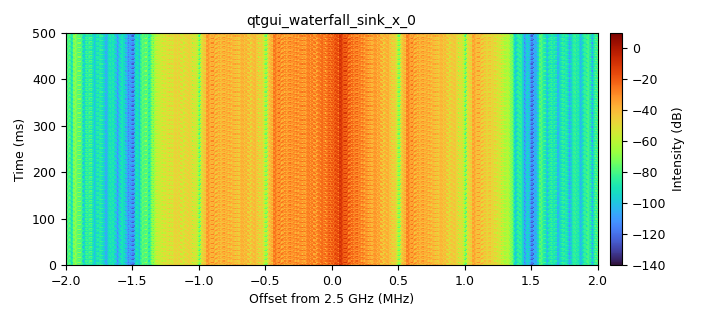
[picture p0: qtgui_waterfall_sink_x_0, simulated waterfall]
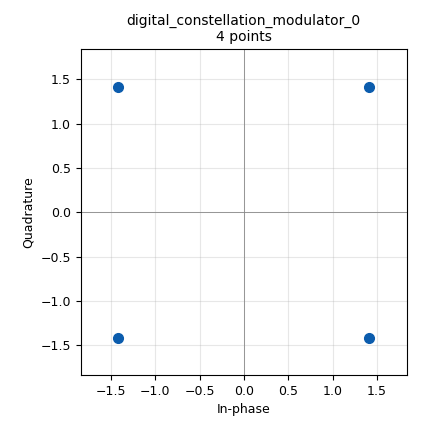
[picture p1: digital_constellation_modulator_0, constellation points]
options:
  parameters:
    generate_options: qt_gui
    id: DigitalJammer
    output_language: python
    title: DigitalJammer
  states: {}

blocks:
- name: center_freq_slider
  id: variable_qtgui_range
  parameters:
    orient: Qt.Horizontal
    start: 2.48e9
    step: 10e3
    stop: 2.52e9
    value: 2.5e9
  states: {}
- name: myconstell
  id: variable_constellation
  parameters:
    precision: '8'
    type: dqpsk
  states: {}
- name: samp_rate
  id: variable
  parameters:
    value: 4e6
  states: {}
- name: analog_random_source_x_0
  id: analog_random_source_x
  parameters:
    max: '2'
    min: '0'
    num_samps: '1000'
    repeat: 'True'
    type: byte
  states: {}
- name: digital_constellation_modulator_0
  id: digital_constellation_modulator
  parameters:
    constellation: myconstell
    differential: 'True'
    excess_bw: '0.35'
    samples_per_symbol: '2'
  states: {}
- name: osmosdr_sink_0
  id: osmosdr_sink
  parameters:
    args: '"hackrf=0"'
    bb_gain0: '0'
    freq0: center_freq_slider
    gain0: '0'
    if_gain0: '32'
    sample_rate: samp_rate
    sync: sync
    type: fc32
  states: {}
- name: qtgui_waterfall_sink_x_0
  id: qtgui_waterfall_sink_x
  parameters:
    bw: samp_rate
    fc: center_freq_slider
    fftsize: '1024'
    type: complex
    wintype: firdes.WIN_BLACKMAN_hARRIS
  states: {}

connections:
- [analog_random_source_x_0, '0', digital_constellation_modulator_0, '0']
- [digital_constellation_modulator_0, '0', osmosdr_sink_0, '0']
- [digital_constellation_modulator_0, '0', qtgui_waterfall_sink_x_0, '0']

metadata:
  file_format: 1
